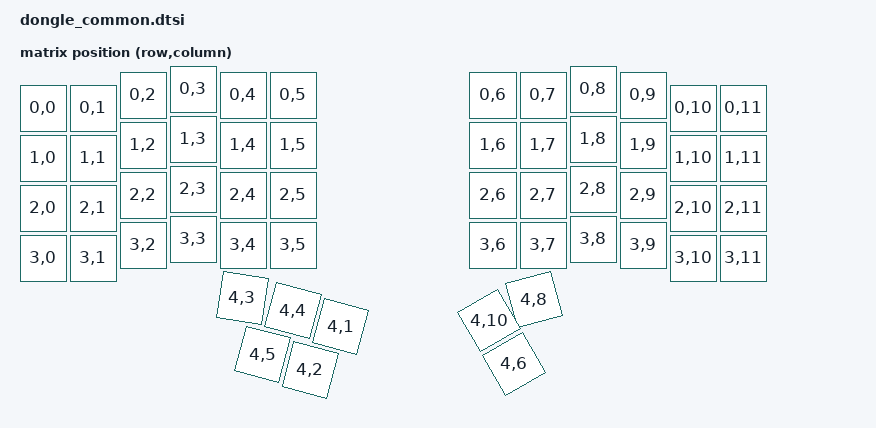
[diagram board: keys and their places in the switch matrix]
#include <dt-bindings/zmk/matrix_transform.h>
#include <physical_layouts.dtsi>
#include <dt-bindings/zmk/input_transform.h>
#include <input/processors.dtsi>
#include "charybdis_layers.h"
#include "charybdis_trackball_processors.dtsi"

/ {
	chosen {
		zmk,kscan = &kscan0;
		zmk,physical-layout = &charybdis_6col_layout;
	};

	default_transform: keymap_transform_0 {
		compatible = "zmk,matrix-transform";
		columns = <12>;
		rows = <5>;
		map = <
			RC(0,0) RC(0,1) RC(0,2) RC(0,3) RC(0,4) RC(0,5)  RC(0,6) RC(0,7) RC(0,8) RC(0,9) RC(0,10) RC(0,11)
			RC(1,0) RC(1,1) RC(1,2) RC(1,3) RC(1,4) RC(1,5)  RC(1,6) RC(1,7) RC(1,8) RC(1,9) RC(1,10) RC(1,11)
			RC(2,0) RC(2,1) RC(2,2) RC(2,3) RC(2,4) RC(2,5)  RC(2,6) RC(2,7) RC(2,8) RC(2,9) RC(2,10) RC(2,11)
			RC(3,0) RC(3,1) RC(3,2) RC(3,3) RC(3,4) RC(3,5)  RC(3,6) RC(3,7) RC(3,8) RC(3,9) RC(3,10) RC(3,11)
			        RC(4,1) RC(4,2) RC(4,3) RC(4,4) RC(4,5)  RC(4,6)         RC(4,8)         RC(4,10)
		>;
	};

	// Receive trackball input from right peripheral
	input_split_0: input_split_0@0 {
		compatible = "zmk,input-split";
		status = "okay";
		reg = <0 1>;  // address 0, size 1
	};

	input_split_listener: input_split_listener {
		compatible = "zmk,input-listener";
		status = "okay";
		device = <&input_split_0>;

		CHARYBDIS_TRACKBALL_PROCESSORS
	};

	charybdis_6col_layout: charybdis_6col_layout {
		compatible = "zmk,physical-layout";
		display-name = "Charybdis 4x6";
		transform = <&default_transform>;
		keys
			= <&key_physical_attrs 100 100    0   38       0     0     0>
			, <&key_physical_attrs 100 100  100   38       0     0     0>
			, <&key_physical_attrs 100 100  200   12       0     0     0>
			, <&key_physical_attrs 100 100  300    0       0     0     0>
			, <&key_physical_attrs 100 100  400   12       0     0     0>
			, <&key_physical_attrs 100 100  500   12       0     0     0>
			, <&key_physical_attrs 100 100  900   12       0     0     0>
			, <&key_physical_attrs 100 100 1000   12       0     0     0>
			, <&key_physical_attrs 100 100 1100    0       0     0     0>
			, <&key_physical_attrs 100 100 1200   12       0     0     0>
			, <&key_physical_attrs 100 100 1300   38       0     0     0>
			, <&key_physical_attrs 100 100 1400   38       0     0     0>
			, <&key_physical_attrs 100 100    0  138       0     0     0>
			, <&key_physical_attrs 100 100  100  138       0     0     0>
			, <&key_physical_attrs 100 100  200  112       0     0     0>
			, <&key_physical_attrs 100 100  300  100       0     0     0>
			, <&key_physical_attrs 100 100  400  112       0     0     0>
			, <&key_physical_attrs 100 100  500  112       0     0     0>
			, <&key_physical_attrs 100 100  900  112       0     0     0>
			, <&key_physical_attrs 100 100 1000  112       0     0     0>
			, <&key_physical_attrs 100 100 1100  100       0     0     0>
			, <&key_physical_attrs 100 100 1200  112       0     0     0>
			, <&key_physical_attrs 100 100 1300  138       0     0     0>
			, <&key_physical_attrs 100 100 1400  138       0     0     0>
			, <&key_physical_attrs 100 100    0  238       0     0     0>
			, <&key_physical_attrs 100 100  100  238       0     0     0>
			, <&key_physical_attrs 100 100  200  212       0     0     0>
			, <&key_physical_attrs 100 100  300  200       0     0     0>
			, <&key_physical_attrs 100 100  400  212       0     0     0>
			, <&key_physical_attrs 100 100  500  212       0     0     0>
			, <&key_physical_attrs 100 100  900  212       0     0     0>
			, <&key_physical_attrs 100 100 1000  212       0     0     0>
			, <&key_physical_attrs 100 100 1100  200       0     0     0>
			, <&key_physical_attrs 100 100 1200  212       0     0     0>
			, <&key_physical_attrs 100 100 1300  238       0     0     0>
			, <&key_physical_attrs 100 100 1400  238       0     0     0>
			, <&key_physical_attrs 100 100    0  338       0     0     0>
			, <&key_physical_attrs 100 100  100  338       0     0     0>
			, <&key_physical_attrs 100 100  200  312       0     0     0>
			, <&key_physical_attrs 100 100  300  300       0     0     0>
			, <&key_physical_attrs 100 100  400  312       0     0     0>
			, <&key_physical_attrs 100 100  500  312       0     0     0>
			, <&key_physical_attrs 100 100  900  312       0     0     0>
			, <&key_physical_attrs 100 100 1000  312       0     0     0>
			, <&key_physical_attrs 100 100 1100  300       0     0     0>
			, <&key_physical_attrs 100 100 1200  312       0     0     0>
			, <&key_physical_attrs 100 100 1300  338       0     0     0>
			, <&key_physical_attrs 100 100 1400  338       0     0     0>
			, <&key_physical_attrs 100 100  518  420    1500   398   790>
			, <&key_physical_attrs 100 100  482  520    1500   398   790>
			, <&key_physical_attrs 100 100  348  414    900    398   790>
			, <&key_physical_attrs 100 100  418  414    1500   398   790>
			, <&key_physical_attrs 100 100  382  514    1500   398   790>
			, <&key_physical_attrs 100 100 1052  520 (-3000)  1102   790>
			, <&key_physical_attrs 100 100 1067  414 (-1500)  1102   790>
			, <&key_physical_attrs 100 100 1052  420 (-3000)  1102   790>
			;
	};
};

